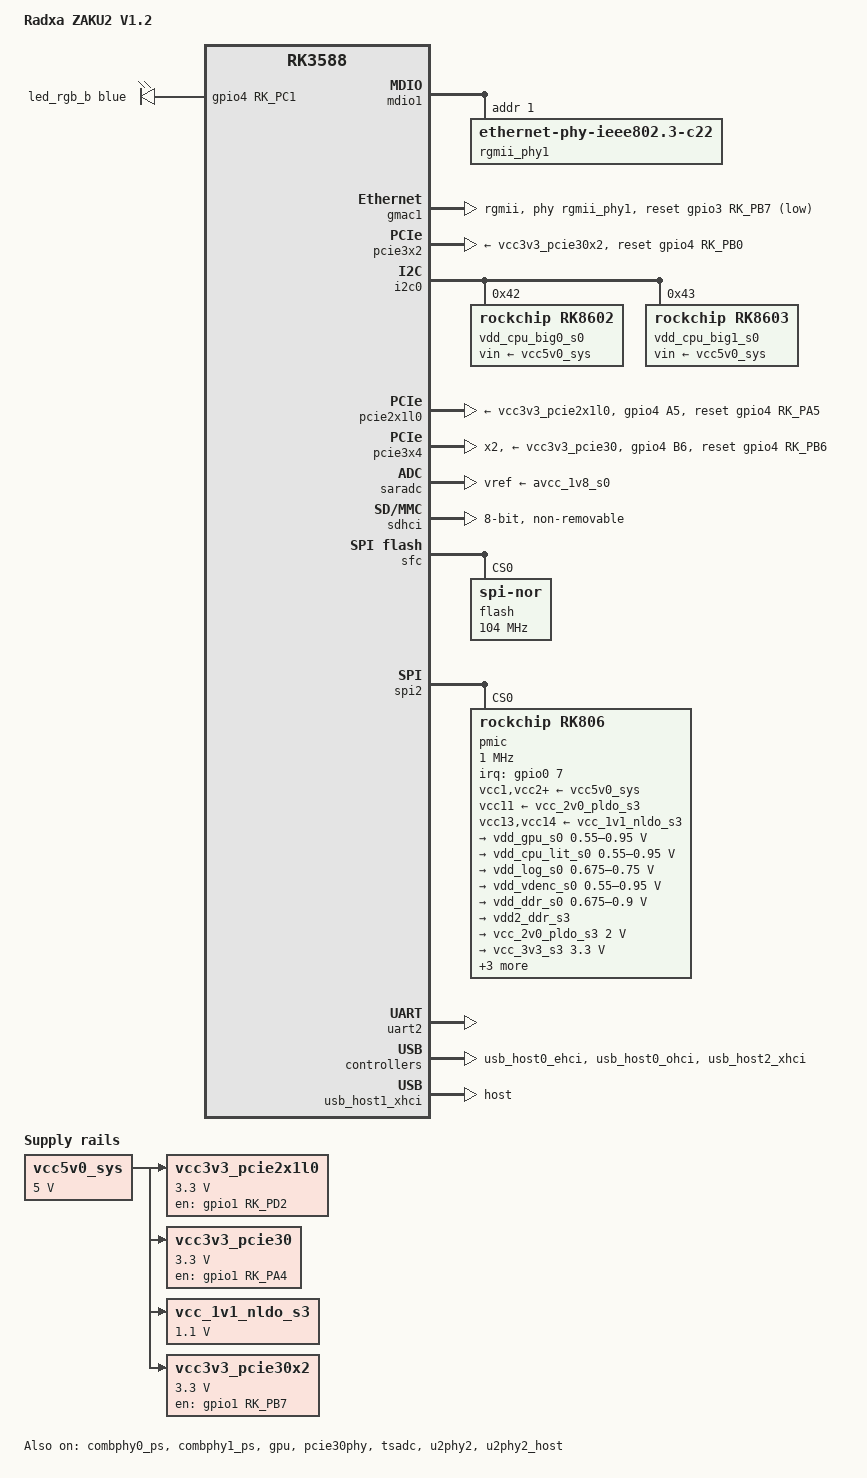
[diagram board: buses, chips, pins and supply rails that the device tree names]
// SPDX-License-Identifier: (GPL-2.0+ OR MIT)

/dts-v1/;

#include <dt-bindings/gpio/gpio.h>
#include <dt-bindings/leds/common.h>
#include <dt-bindings/soc/rockchip,vop2.h>
#include "rk3588.dtsi"

/ {
    model = "Radxa ZAKU2 V1.2";
	compatible = "radxa,zaku2", "rockchip,rk3588";

    aliases {
		mmc0 = &sdhci;
		mmc1 = &sdmmc;
		mmc2 = &sdio;
	};

    chosen {
		stdout-path = "serial2:1500000n8";
	};
    
    // Double check
    vcc3v3_pcie2x1l0: regulator-vcc3v3-pcie2x1l0 {
		compatible = "regulator-fixed"; 				
		enable-active-high;										
		gpios = <&gpio1 RK_PD2 GPIO_ACTIVE_HIGH>;							
		pinctrl-names = "default";						// ?	
		pinctrl-0 = <&pcie2_0_vcc3v3_en>;				// +-			
		regulator-name = "vcc3v3_pcie2x1l0";						
		regulator-always-on;							
		regulator-boot-on;								
		regulator-min-microvolt = <3300000>;							
		regulator-max-microvolt = <3300000>;								
		startup-delay-us = <50000>;								
		vin-supply = <&vcc5v0_sys>;							
	};

    // Doubble check
    vcc3v3_pcie30: regulator-vcc3v3-pcie30 {
		compatible = "regulator-fixed";
		enable-active-high;
		gpios = <&gpio1 RK_PA4 GPIO_ACTIVE_HIGH>;
		pinctrl-names = "default";
		pinctrl-0 = <&pcie3_vcc3v3_en>;
		regulator-name = "vcc3v3_pcie30";
		regulator-min-microvolt = <3300000>;
		regulator-max-microvolt = <3300000>;
		startup-delay-us = <5000>;
		vin-supply = <&vcc5v0_sys>;
		regulator-boot-on;   // New flag for rock-5b
		regulator-always-on; // New flag for rock-5b
	};

    vcc5v0_sys: regulator-vcc5v0-sys {
		compatible = "regulator-fixed";
		regulator-name = "vcc5v0_sys";
		regulator-always-on;
		regulator-boot-on;
		regulator-min-microvolt = <5000000>;
		regulator-max-microvolt = <5000000>;
	};

    vcc_1v1_nldo_s3: regulator-vcc-1v1-nldo-s3 {
		compatible = "regulator-fixed";
		regulator-name = "vcc_1v1_nldo_s3";
		regulator-always-on;
		regulator-boot-on;
		regulator-min-microvolt = <1100000>;
		regulator-max-microvolt = <1100000>;
		vin-supply = <&vcc5v0_sys>;
	};

    // M2 slot x2
    // Add new nodes vcc3v3_pcie30x2: vcc3v3-pcie2x1l2
    // ++
    vcc3v3_pcie30x2: regulator-vcc3v3-pcie2x1l2 {
        compatible = "regulator-fixed";
        regulator-name = "vcc3v3_pcie2x1l2";
        regulator-min-microvolt = <3300000>;
		regulator-max-microvolt = <3300000>;
        enable-active-high;
        regulator-boot-on;
        regulator-always-on;
        gpios = <&gpio1 RK_PB7 GPIO_ACTIVE_HIGH>;
        startup-delay-us = <5000>;
        vin-supply = <&vcc5v0_sys>;
        // pinctrl-names = "default";     // ??? new fields
		// pinctrl-0 = <&pci3x2_vcc3v3_en>;// ??? new fields
    };

    // Add new LEDs for ZAKU2
    // ++
    leds {
		compatible = "gpio-leds";
		pinctrl-names = "default";
		pinctrl-0 = <&led_rgb_b>;

		led_rgb_b {
			function = LED_FUNCTION_STATUS;
			color = <LED_COLOR_ID_BLUE>;
			gpios = <&gpio4 RK_PC1 GPIO_ACTIVE_HIGH>;
			linux,default-trigger = "heartbeat";
		};
	};
};

&combphy0_ps {
	status = "okay";
};

&combphy1_ps {
	status = "okay";
};

// Double check cpu, but I think it same
&cpu_b0 {
	cpu-supply = <&vdd_cpu_big0_s0>;
};

&cpu_b1 {
	cpu-supply = <&vdd_cpu_big0_s0>;
};

&cpu_b2 {
	cpu-supply = <&vdd_cpu_big1_s0>;
};

&cpu_b3 {
	cpu-supply = <&vdd_cpu_big1_s0>;
};

&cpu_l0 {
	cpu-supply = <&vdd_cpu_lit_s0>;
};

&cpu_l1 {
	cpu-supply = <&vdd_cpu_lit_s0>;
};

&cpu_l2 {
	cpu-supply = <&vdd_cpu_lit_s0>;
};

&cpu_l3 {
	cpu-supply = <&vdd_cpu_lit_s0>;
};

// ++
&gpu {
	mali-supply = <&vdd_gpu_s0>;
	status = "okay";
};

// Add &mdio1
&mdio1 {
	rgmii_phy1: phy@1 {
		compatible = "ethernet-phy-ieee802.3-c22";
		reg = <0x1>;
	};
};

// Add &gmac1
// Reveiw it
&gmac1 {
	status = "okay";
	phy-mode = "rgmii";
	clock_in_out = "output";

	snps,reset-gpio = <&gpio3 RK_PB7 GPIO_ACTIVE_LOW>;
	snps,reset-active-low;
	// Reset time is 20ms, 100ms for rtl8211f
	snps,reset-delays-us = <0 20000 100000>;

	pinctrl-names = "default";
	pinctrl-0 = <&gmac1_miim
		     &gmac1_tx_bus2
		     &gmac1_rx_bus2
		     &gmac1_rgmii_clk
		     &gmac1_rgmii_bus>;

	tx_delay = <0x3c>;
	rx_delay = <0x35>;

	phy-handle = <&rgmii_phy1>;
};

// Add &usb2phy0_grf

// Add &pcie3x2
// ++
&pcie3x2 {
    // pinctrl-names = "default";
    // pinctrl-0 = <&pcie3_rst>; // reveiw it
    reset-gpios = <&gpio4 RK_PB0 GPIO_ACTIVE_HIGH>;
	vpcie3v3-supply = <&vcc3v3_pcie30x2>;
    status = "okay";
};

// Not exist in new kernel
// Can work without it?
// ??? rknpu
// ??? rknpu_mmu
// ??? dmc
// ??? dfi
// ??? i2c1
// ??? iep
// ??? iep_mmu
// ??? jpegd
// ??? jpegd_mmu
// ??? jpege_ccu
// ??? jpege0
// ??? jpege0_mmu
// ??? jpege1
// ??? jpege1_mmu
// ??? jpege2
// ??? jpege2_mmu
// ??? jpege3
// ??? jpege3_mmu
// ??? vdpu
// ??? vdpu_mmu
// ??? mpp_srv
// ??? rga3_core0
// ??? rga3_0_mmu
// ??? rga3_core1
// ??? rga3_1_mmu
// ??? rga2
// ??? rkvdec_ccu
// ??? rkvdec0
// ??? rkvdec0_mmu
// ??? rkvdec1
// ??? rkvdec1_mmu
// ??? rkvenc_ccu
// ??? rkvenc0
// ??? rkvenc0_mmu
// ??? rkvenc1
// ??? rkvenc1_mmu
// ??? u2phy0
// ??? u2phy0_otg
// ??? usbdp_phy0
// ??? usbdp_phy0_u3
// ??? usbdrd3_0
// ??? usbdrd_dwc3_0
// ??? usbhost3_0
// ??? usbhost_dwc3_0
// ??? spdif_tx2


// Double check it 
// Will check
&i2c0 {
	pinctrl-names = "default";
	pinctrl-0 = <&i2c0m2_xfer>;
	status = "okay";

	vdd_cpu_big0_s0: regulator@42 {
		compatible = "rockchip,rk8602";
		reg = <0x42>;
		fcs,suspend-voltage-selector = <1>;
		regulator-name = "vdd_cpu_big0_s0";
		regulator-always-on;
		regulator-boot-on;
		regulator-min-microvolt = <550000>;
		regulator-max-microvolt = <1050000>;
		regulator-ramp-delay = <2300>;
		vin-supply = <&vcc5v0_sys>;

		regulator-state-mem {
			regulator-off-in-suspend;
		};
	};

	vdd_cpu_big1_s0: regulator@43 {
		compatible = "rockchip,rk8603", "rockchip,rk8602";
		reg = <0x43>;
		fcs,suspend-voltage-selector = <1>;
		regulator-name = "vdd_cpu_big1_s0";
		regulator-always-on;
		regulator-boot-on;
		regulator-min-microvolt = <550000>;
		regulator-max-microvolt = <1050000>;
		regulator-ramp-delay = <2300>;
		vin-supply = <&vcc5v0_sys>;

		regulator-state-mem {
			regulator-off-in-suspend;
		};
	};
};

// Check pinctrl-0 field that it cofigure 
&pcie2x1l0 {
	pinctrl-names = "default";
	pinctrl-0 = <&pcie2_0_rst>; // check
	reset-gpios = <&gpio4 RK_PA5 GPIO_ACTIVE_HIGH>;
	vpcie3v3-supply = <&vcc3v3_pcie2x1l0>;
	status = "okay";
};

// Check
// ???
&pcie30phy {
    // FIX IT
	// rockchip,pcie30-phymode = <PHY_MODE_PCIE_NANBNB>; // New property for ZAKU2, double check it
    // Nee
	status = "okay";
};

// Diff node check comment property
&pcie3x4 {
	num-lanes = <2>; // New property for ZAKU2, double check it
	pinctrl-names = "default";
	pinctrl-0 = <&pcie3_rst>;
	reset-gpios = <&gpio4 RK_PB6 GPIO_ACTIVE_HIGH>;
	vpcie3v3-supply = <&vcc3v3_pcie30>;
	status = "okay";
};

&pinctrl {

    // Double check RGB LED
    leds {
        led_rgb_b: led-rgb-b {
			rockchip,pins = <4 RK_PC1 RK_FUNC_GPIO &pcfg_pull_none>;
		};
	};

    pcie2 {
		// Using in ZAKU2 for pcie2x1l0 mod for kernel 6.14
		pcie2_0_rst: pcie2-0-rst {
			rockchip,pins = <4 RK_PA5 RK_FUNC_GPIO &pcfg_pull_none>;
		};

		// Using in ZAKU2 for vcc3v3_pcie2x1l2 mod for kernel 6.14
		pcie2_0_vcc3v3_en: pcie2-0-vcc-en {
			rockchip,pins = <1 RK_PD2 RK_FUNC_GPIO &pcfg_pull_none>;
		};
    };

    pcie3 {
		// Using in ZAKU2 for pcie3x4 mod for kernel 6.14
		pcie3_rst: pcie3-rst {
			rockchip,pins = <4 RK_PB6 RK_FUNC_GPIO &pcfg_pull_none>;
		};

		// // Using in ZAKU2 for vcc3v3_pcie30 mod for kernel 6.14
		pcie3_vcc3v3_en: pcie3-vcc3v3-en {
			rockchip,pins = <1 RK_PA4 RK_FUNC_GPIO &pcfg_pull_none>;
		};

        // pci3x2_vcc3v3_en: pcie3-vcc3v3-en {
        //     rockchip,pins = <1 RK_PB7 RK_FUNC_GPIO &pcfg_pull_none>;
        // };
	};
};


&saradc {
	vref-supply = <&avcc_1v8_s0>;
	status = "okay";
};

// But need double check commented property
&sdhci {
	bus-width = <8>;
	no-sdio;
	no-sd;
	non-removable;
	max-frequency = <150000000>;
	mmc-hs400-1_8v;
	// mmc-hs400-enhanced-strobe; // Commented property on ZAKU2
	status = "okay";
};

// Double check it
&sfc {
	pinctrl-names = "default";
	pinctrl-0 = <&fspim1_pins>; // differenert for ZAKU2 (was <fspim2_pins> for 5b)
	status = "okay";

	flash@0 {
		compatible = "jedec,spi-nor";
		reg = <0>;
		spi-max-frequency = <104000000>;
		spi-rx-bus-width = <4>;
		spi-tx-bus-width = <1>;
	};
};

&tsadc {
	status = "okay";
};

&spi2 {
	status = "okay";
	assigned-clocks = <&cru CLK_SPI2>;
	assigned-clock-rates = <200000000>;
	pinctrl-names = "default";
	pinctrl-0 = <&spi2m2_cs0 &spi2m2_pins>;
	num-cs = <1>;

	pmic@0 {
		compatible = "rockchip,rk806";
		spi-max-frequency = <1000000>;
		reg = <0x0>;

		interrupt-parent = <&gpio0>;
		interrupts = <7 IRQ_TYPE_LEVEL_LOW>;

		pinctrl-names = "default";
		pinctrl-0 = <&pmic_pins>, <&rk806_dvs1_null>,
			    <&rk806_dvs2_null>, <&rk806_dvs3_null>;

		system-power-controller;

		vcc1-supply = <&vcc5v0_sys>;
		vcc2-supply = <&vcc5v0_sys>;
		vcc3-supply = <&vcc5v0_sys>;
		vcc4-supply = <&vcc5v0_sys>;
		vcc5-supply = <&vcc5v0_sys>;
		vcc6-supply = <&vcc5v0_sys>;
		vcc7-supply = <&vcc5v0_sys>;
		vcc8-supply = <&vcc5v0_sys>;
		vcc9-supply = <&vcc5v0_sys>;
		vcc10-supply = <&vcc5v0_sys>;
		vcc11-supply = <&vcc_2v0_pldo_s3>;
		vcc12-supply = <&vcc5v0_sys>;
		vcc13-supply = <&vcc_1v1_nldo_s3>;
		vcc14-supply = <&vcc_1v1_nldo_s3>;
		vcca-supply = <&vcc5v0_sys>;

		gpio-controller;
		#gpio-cells = <2>;

		// New
		rk806_dvs1_null: dvs1-null-pins {
			pins = "gpio_pwrctrl1";
			function = "pin_fun0";
		};

		// new
		rk806_dvs2_null: dvs2-null-pins {
			pins = "gpio_pwrctrl2";
			function = "pin_fun0";
		};

		// new
		rk806_dvs3_null: dvs3-null-pins {
			pins = "gpio_pwrctrl3";
			function = "pin_fun0";
		};

		// Deffenitions for nodes so won't delete it
		regulators {
			// For GPU same for ZAKU2
			vdd_gpu_s0: vdd_gpu_mem_s0: dcdc-reg1 {
				regulator-boot-on;
				regulator-min-microvolt = <550000>;
				regulator-max-microvolt = <950000>;
				regulator-ramp-delay = <12500>;
				regulator-name = "vdd_gpu_s0";
				regulator-enable-ramp-delay = <400>;

				regulator-state-mem {
					regulator-off-in-suspend;
				};
			};

			// for cpu_l0 same for ZAKU2
			vdd_cpu_lit_s0: vdd_cpu_lit_mem_s0: dcdc-reg2 {
				regulator-always-on;
				regulator-boot-on;
				regulator-min-microvolt = <550000>;
				regulator-max-microvolt = <950000>;
				regulator-ramp-delay = <12500>;
				regulator-name = "vdd_cpu_lit_s0";

				regulator-state-mem {
					regulator-off-in-suspend;
				};
			};

			// for dmc not exist in new kernel
			// Using in ZAKU2
			// but with diff node with default parameters
			vdd_log_s0: dcdc-reg3 {
				regulator-always-on;
				regulator-boot-on;
				regulator-min-microvolt = <675000>;
				regulator-max-microvolt = <750000>;
				regulator-ramp-delay = <12500>;
				regulator-name = "vdd_log_s0";

				regulator-state-mem {
					regulator-off-in-suspend;
					regulator-suspend-microvolt = <750000>;
				};
			};

			// NEw node
			vdd_vdenc_s0: vdd_vdenc_mem_s0: dcdc-reg4 {
				regulator-always-on;
				regulator-boot-on;
				regulator-min-microvolt = <550000>;
				regulator-max-microvolt = <950000>;
				regulator-ramp-delay = <12500>;
				regulator-name = "vdd_vdenc_s0";

				regulator-state-mem {
					regulator-off-in-suspend;
				};
			};

			// New but same
			vdd_ddr_s0: dcdc-reg5 {
				regulator-always-on;
				regulator-boot-on;
				regulator-min-microvolt = <675000>;
				regulator-max-microvolt = <900000>;
				regulator-ramp-delay = <12500>;
				regulator-name = "vdd_ddr_s0";

				regulator-state-mem {
					regulator-off-in-suspend;
					regulator-suspend-microvolt = <850000>;
				};
			};

			// new
			vdd2_ddr_s3: dcdc-reg6 {
				regulator-always-on;
				regulator-boot-on;
				regulator-name = "vdd2_ddr_s3";

				regulator-state-mem {
					regulator-on-in-suspend;
				};
			};

			// NEw
			vcc_2v0_pldo_s3: dcdc-reg7 {
				regulator-always-on;
				regulator-boot-on;
				regulator-min-microvolt = <2000000>;
				regulator-max-microvolt = <2000000>;
				regulator-ramp-delay = <12500>;
				regulator-name = "vdd_2v0_pldo_s3";

				regulator-state-mem {
					regulator-on-in-suspend;
					regulator-suspend-microvolt = <2000000>;
				};
			};

			// Not using in Zaku2
			// But new node
			// ???
			// Check new dtsi
			vcc_3v3_s3: dcdc-reg8 {
				regulator-always-on;
				regulator-boot-on;
				regulator-min-microvolt = <3300000>;
				regulator-max-microvolt = <3300000>;
				regulator-name = "vcc_3v3_s3";

				regulator-state-mem {
					regulator-on-in-suspend;
					regulator-suspend-microvolt = <3300000>;
				};
			};

			// NEw
			vddq_ddr_s0: dcdc-reg9 {
				regulator-always-on;
				regulator-boot-on;
				regulator-name = "vddq_ddr_s0";

				regulator-state-mem {
					regulator-off-in-suspend;
				};
			};

			// New
			vcc_1v8_s3: dcdc-reg10 {
				regulator-always-on;
				regulator-boot-on;
				regulator-min-microvolt = <1800000>;
				regulator-max-microvolt = <1800000>;
				regulator-name = "vcc_1v8_s3";

				regulator-state-mem {
					regulator-on-in-suspend;
					regulator-suspend-microvolt = <1800000>;
				};
			};

			// Using in ZAKU2
			avcc_1v8_s0: pldo-reg1 {
				regulator-always-on;
				regulator-boot-on;
				regulator-min-microvolt = <1800000>;
				regulator-max-microvolt = <1800000>;
				regulator-name = "avcc_1v8_s0";

				regulator-state-mem {
					regulator-off-in-suspend;
				};
			};

			vcc_1v8_s0: pldo-reg2 {
				regulator-always-on;
				regulator-boot-on;
				regulator-min-microvolt = <1800000>;
				regulator-max-microvolt = <1800000>;
				regulator-name = "vcc_1v8_s0";

				regulator-state-mem {
					regulator-off-in-suspend;
					regulator-suspend-microvolt = <1800000>;
				};
			};

			avdd_1v2_s0: pldo-reg3 {
				regulator-always-on;
				regulator-boot-on;
				regulator-min-microvolt = <1200000>;
				regulator-max-microvolt = <1200000>;
				regulator-name = "avdd_1v2_s0";

				regulator-state-mem {
					regulator-off-in-suspend;
				};
			};

			vcc_3v3_s0: pldo-reg4 {
				regulator-always-on;
				regulator-boot-on;
				regulator-min-microvolt = <3300000>;
				regulator-max-microvolt = <3300000>;
				regulator-ramp-delay = <12500>;
				regulator-name = "vcc_3v3_s0";

				regulator-state-mem {
					regulator-off-in-suspend;
				};
			};

			vccio_sd_s0: pldo-reg5 {
				regulator-always-on;
				regulator-boot-on;
				regulator-min-microvolt = <1800000>;
				regulator-max-microvolt = <3300000>;
				regulator-ramp-delay = <12500>;
				regulator-name = "vccio_sd_s0";

				regulator-state-mem {
					regulator-off-in-suspend;
				};
			};

			pldo6_s3: pldo-reg6 {
				regulator-always-on;
				regulator-boot-on;
				regulator-min-microvolt = <1800000>;
				regulator-max-microvolt = <1800000>;
				regulator-name = "pldo6_s3";

				regulator-state-mem {
					regulator-on-in-suspend;
					regulator-suspend-microvolt = <1800000>;
				};
			};

			vdd_0v75_s3: nldo-reg1 {
				regulator-always-on;
				regulator-boot-on;
				regulator-min-microvolt = <750000>;
				regulator-max-microvolt = <750000>;
				regulator-name = "vdd_0v75_s3";

				regulator-state-mem {
					regulator-on-in-suspend;
					regulator-suspend-microvolt = <750000>;
				};
			};

			// Nit using in zaku2
			vdd_ddr_pll_s0: nldo-reg2 {
				regulator-always-on;
				regulator-boot-on;
				regulator-min-microvolt = <850000>;
				regulator-max-microvolt = <850000>;
				regulator-name = "vdd_ddr_pll_s0";

				regulator-state-mem {
					regulator-off-in-suspend;
					regulator-suspend-microvolt = <850000>;
				};
			};

			avdd_0v75_s0: nldo-reg3 {
				regulator-always-on;
				regulator-boot-on;
				regulator-min-microvolt = <750000>;
				regulator-max-microvolt = <750000>;
				regulator-name = "avdd_0v75_s0";

				regulator-state-mem {
					regulator-off-in-suspend;
				};
			};

			vdd_0v85_s0: nldo-reg4 {
				regulator-always-on;
				regulator-boot-on;
				regulator-min-microvolt = <850000>;
				regulator-max-microvolt = <850000>;
				regulator-name = "vdd_0v85_s0";

				regulator-state-mem {
					regulator-off-in-suspend;
				};
			};

			vdd_0v75_s0: nldo-reg5 {
				regulator-always-on;
				regulator-boot-on;
				regulator-min-microvolt = <750000>;
				regulator-max-microvolt = <750000>;
				regulator-name = "vdd_0v75_s0";

				regulator-state-mem {
					regulator-off-in-suspend;
				};
			};
		};
	};
};

&tsadc {
	status = "okay";
};

// Double check it new node from 6.14
&uart2 {
	pinctrl-0 = <&uart2m0_xfer>;
	status = "okay";
};

&u2phy2 {
	status = "okay";
};

&u2phy2_host {
	/* connected to USB hub, which is powered by vcc5v0_sys */
	phy-supply = <&vcc5v0_sys>;
	status = "okay";
};

&usb_host0_ehci {
	status = "okay";
};

&usb_host0_ohci {
	status = "okay";
};

// New node maybe need uncomment it
// Double check it
&usb_host1_xhci {
	dr_mode = "host";
	status = "okay";
};

// New node maybe need uncomment it
// Double check it
&usb_host2_xhci {
	status = "okay";
};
